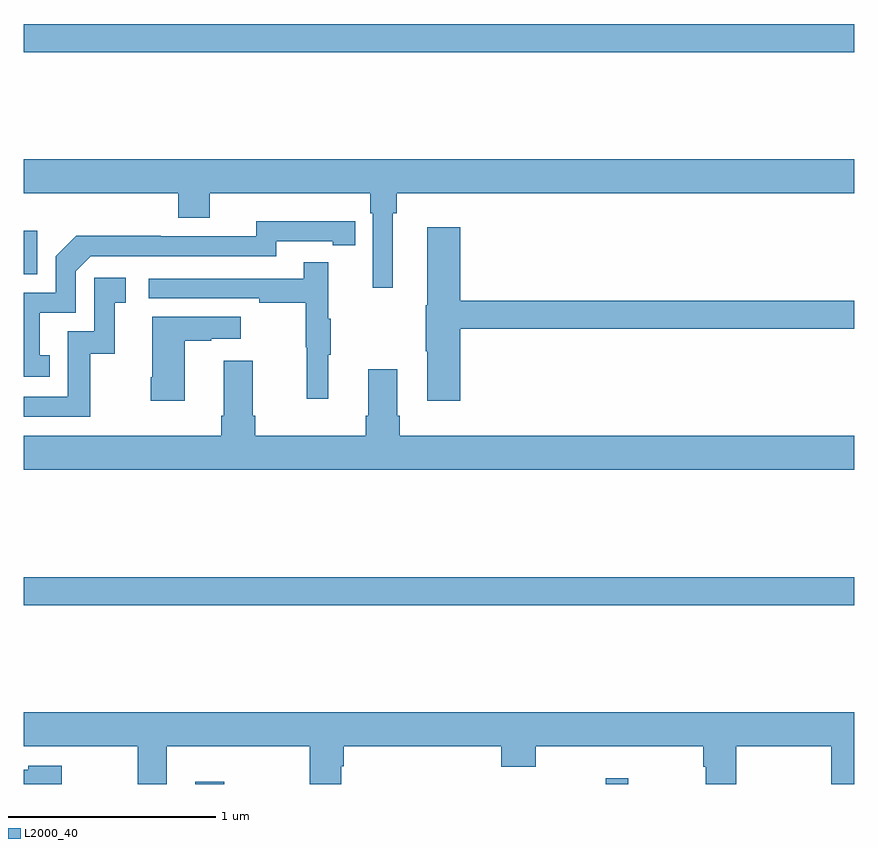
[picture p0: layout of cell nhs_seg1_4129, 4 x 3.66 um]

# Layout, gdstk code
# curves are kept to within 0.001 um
import gdstk
lib = gdstk.Library(unit=1e-6, precision=1e-09)
def R(c, l, rs):  # rectangles x0, y0, x1, y1
    for r in rs: c.add(gdstk.rectangle(r[:2], r[2:], *l))
def P(c, l, *ps):  # polygons
    for p in ps: c.add(gdstk.Polygon(p, *l))
L2000_40 = (2000, 40)

nhs_seg1_4129 = lib.new_cell('nhs_seg1_4129')
R(nhs_seg1_4129, L2000_40, [(335.825,570.199,335.965,570.211), (337.803,570.199,337.912,570.226), (335,571.06,339,571.196), (335,572.655,335.064,572.863), (335,573.724,339,573.86)])
P(nhs_seg1_4129, L2000_40, [(336.778,572.948),(336.797,572.948),(336.797,573.044),(339,573.044),(339,573.208),(335,573.208),(335,573.044),(335.744,573.044),(335.744,572.927),(335.896,572.927),(335.896,573.044),(336.668,573.044),(336.668,572.948),(336.681,572.948),(336.681,572.589),(336.778,572.589)],
  [(335.126,572.265),(335.077,572.265),(335.077,572.469),(335.25,572.469),(335.25,572.67),(335.322,572.742),(336.216,572.742),(336.216,572.814),(336.488,572.814),(336.488,572.794),(336.596,572.794),(336.596,572.91),(336.12,572.911),(336.12,572.838),(335.66,572.838),(335.66,572.84),(335.252,572.84),(335.154,572.742),(335.154,572.565),(335,572.565),(335,572.16),(335.126,572.16)],
  [(337.103,572.392),(339,572.392),(339,572.528),(337.103,572.528),(337.103,572.881),(336.944,572.881),(336.944,572.505),(336.937,572.505),(336.937,572.284),(336.944,572.284),(336.944,572.046),(337.103,572.046)],
  [(336.467,572.267),(336.478,572.267),(336.478,572.441),(336.467,572.441),(336.467,572.713),(336.349,572.713),(336.349,572.634),(335.601,572.634),(335.601,572.538),(336.133,572.538),(336.133,572.518),(336.357,572.518),(336.357,572.304),(336.364,572.304),(336.364,572.055),(336.467,572.055)],
  [(335.32,572.271),(335.438,572.271),(335.438,572.517),(335.491,572.517),(335.491,572.638),(335.34,572.638),(335.34,572.379),(335.211,572.379),(335.211,572.064),(335,572.064),(335,571.968),(335.32,571.968)],
  [(335.776,572.335),(335.903,572.335),(335.903,572.345),(336.046,572.345),(336.046,572.449),(335.618,572.449),(335.618,572.158),(335.611,572.158),(335.611,572.046),(335.776,572.046)],
  [(339,571.876),(336.812,571.876),(336.812,571.972),(336.799,571.972),(336.799,572.197),(336.659,572.197),(336.659,571.972),(336.647,571.972),(336.647,571.876),(336.116,571.876),(336.116,571.972),(336.103,571.972),(336.103,572.239),(335.963,572.239),(335.963,571.972),(335.951,571.972),(335.951,571.876),(335,571.876),(335,571.712),(339,571.712)],
  [(335.689,570.38),(336.377,570.38),(336.377,570.199),(336.529,570.199),(336.529,570.284),(336.542,570.284),(336.542,570.38),(337.301,570.38),(337.301,570.281),(337.466,570.281),(337.466,570.38),(338.273,570.38),(338.273,570.282),(338.285,570.282),(338.285,570.199),(338.433,570.199),(338.433,570.38),(338.89,570.38),(338.89,570.199),(339,570.199),(339,570.544),(335,570.544),(335,570.38),(335.549,570.38),(335.549,570.199),(335.689,570.199)],
  [(335.182,570.286),(335.022,570.286),(335.022,570.268),(335,570.268),(335,570.199),(335.182,570.199)])

lib.write_gds('nhs_seg1_4129.gds')
